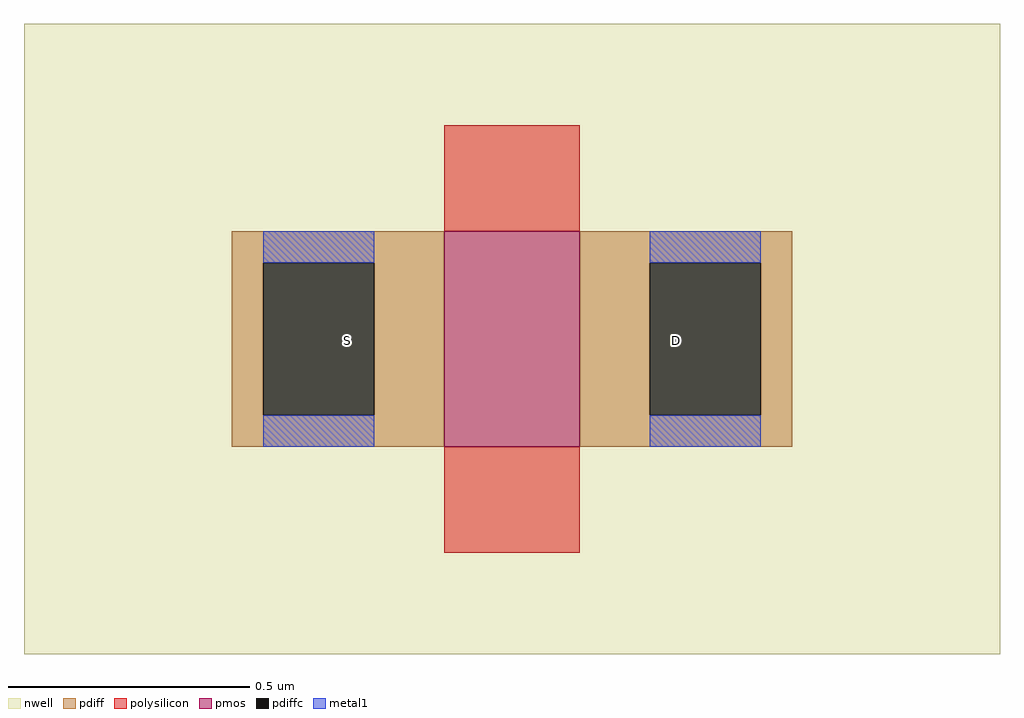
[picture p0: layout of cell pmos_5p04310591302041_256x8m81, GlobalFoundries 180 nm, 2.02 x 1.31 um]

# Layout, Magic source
magic
tech gf180mcuD
magscale 1 10
<< nwell >>
rect -174 -86 230 175
<< pmos >>
rect 0 0 56 89
<< pdiff >>
rect -88 76 0 89
rect -88 13 -75 76
rect -29 13 0 76
rect -88 0 0 13
rect 56 76 144 89
rect 56 13 85 76
rect 131 13 144 76
rect 56 0 144 13
<< pdiffc >>
rect -75 13 -29 76
rect 85 13 131 76
<< polysilicon >>
rect 0 89 56 133
rect 0 -44 56 0
<< metal1 >>
rect -75 76 -29 89
rect -75 0 -29 13
rect 85 76 131 89
rect 85 0 131 13
<< labels >>
flabel pdiffc -40 44 -40 44 0 FreeSans 186 0 0 0 S
flabel pdiffc 96 44 96 44 0 FreeSans 186 0 0 0 D
<< end >>
